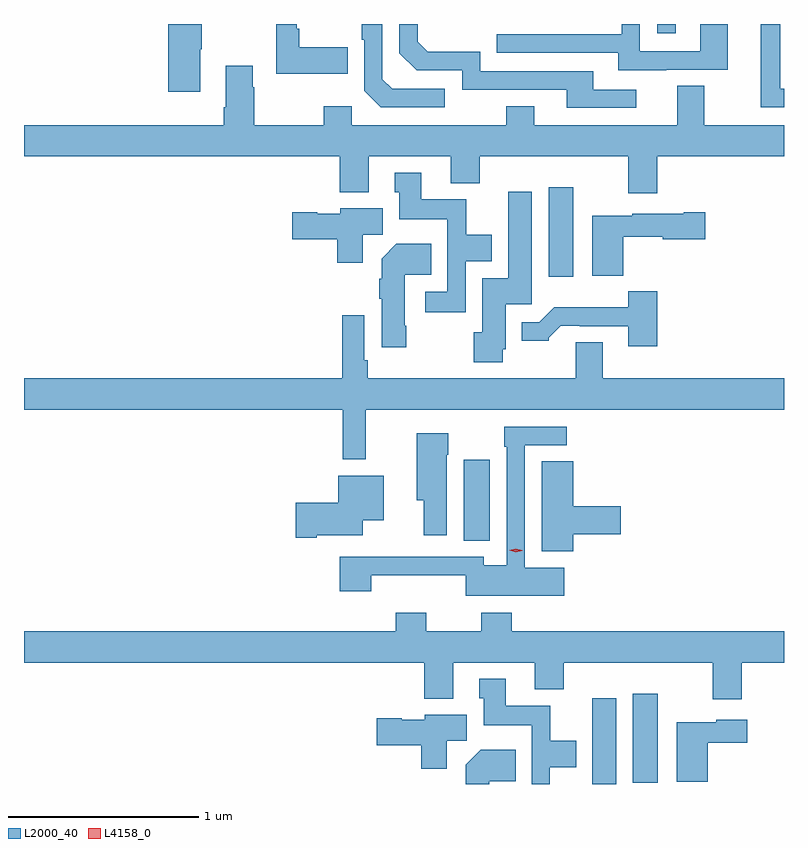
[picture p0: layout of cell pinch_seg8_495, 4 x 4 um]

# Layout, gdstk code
import gdstk
lib = gdstk.Library(unit=1e-6, precision=1e-09)
def R(c, l, rs):  # rectangles x0, y0, x1, y1
    for r in rs: c.add(gdstk.rectangle(r[:2], r[2:], *l))
def P(c, l, *ps):  # polygons
    for p in ps: c.add(gdstk.Polygon(p, *l))
L2000_40 = (2000, 40)
L4158_0 = (4158, 0)

pinch_seg8_495 = lib.new_cell('pinch_seg8_495')
R(pinch_seg8_495, L2000_40, [(211.538,1114.529,211.663,1114.981), (211.751,1114.536,211.882,1115.005), (210.86,1115.809,210.997,1116.235), (211.307,1117.2,211.438,1117.669), (211.878,1118.481,211.975,1118.529)])
P(pinch_seg8_495, L2000_40, [(211.768,1118.184),(211.543,1118.184),(211.543,1118.28),(210.948,1118.28),(210.948,1118.383),(210.671,1118.383),(210.618,1118.436),(210.618,1118.529),(210.522,1118.529),(210.522,1118.376),(210.612,1118.286),(210.852,1118.286),(210.852,1118.184),(211.403,1118.184),(211.403,1118.088),(211.768,1118.088)],
  [(210.251,1118.407),(209.995,1118.407),(209.995,1118.503),(209.982,1118.503),(209.982,1118.529),(209.874,1118.529),(209.874,1118.267),(210.251,1118.267)],
  [(212.546,1118.187),(212.527,1118.187),(212.527,1118.529),(212.423,1118.529),(212.423,1118.091),(212.546,1118.091)],
  [(210.76,1118.187),(210.483,1118.187),(210.432,1118.238),(210.432,1118.529),(210.324,1118.529),(210.324,1118.447),(210.336,1118.447),(210.336,1118.178),(210.423,1118.091),(210.76,1118.091)],
  [(211.927,1118.289),(212.251,1118.289),(212.251,1118.529),(212.106,1118.529),(212.106,1118.385),(211.788,1118.385),(211.788,1118.529),(211.692,1118.529),(211.692,1118.475),(211.033,1118.475),(211.033,1118.379),(211.673,1118.379),(211.673,1118.285),(211.927,1118.285)],
  [(209.473,1118.395),(209.481,1118.395),(209.481,1118.529),(209.306,1118.529),(209.306,1118.172),(209.473,1118.172)],
  [(211.88,1117.832),(212.546,1117.832),(212.546,1117.996),(212.125,1117.996),(212.125,1118.204),(211.985,1118.204),(211.985,1117.996),(211.231,1117.996),(211.231,1118.095),(211.084,1118.095),(211.084,1117.996),(210.27,1117.996),(210.27,1118.095),(210.124,1118.095),(210.124,1117.996),(209.757,1117.996),(209.757,1118.195),(209.749,1118.195),(209.749,1118.308),(209.609,1118.308),(209.609,1118.092),(209.597,1118.092),(209.597,1117.996),(208.546,1117.996),(208.546,1117.832),(210.209,1117.832),(210.209,1117.643),(210.361,1117.643),(210.361,1117.832),(210.791,1117.832),(210.791,1117.691),(210.944,1117.691),(210.944,1117.832),(211.727,1117.832),(211.727,1117.638),(211.88,1117.638)],
  [(210.87,1117.28),(211.009,1117.28),(211.009,1117.42),(210.873,1117.42),(210.873,1117.606),(210.637,1117.606),(210.637,1117.747),(210.497,1117.747),(210.497,1117.644),(210.521,1117.644),(210.521,1117.502),(210.774,1117.502),(210.774,1117.119),(210.657,1117.119),(210.657,1117.011),(210.87,1117.011)],
  [(211.065,1116.816),(211.081,1116.816),(211.081,1117.053),(211.219,1117.053),(211.219,1117.645),(211.094,1117.645),(211.094,1117.192),(210.959,1117.192),(210.959,1116.906),(210.913,1116.906),(210.913,1116.75),(211.065,1116.75)],
  [(210.328,1117.42),(210.433,1117.42),(210.433,1117.558),(210.21,1117.558),(210.21,1117.531),(210.09,1117.531),(210.09,1117.539),(209.958,1117.539),(209.958,1117.397),(210.194,1117.397),(210.194,1117.272),(210.328,1117.272)],
  [(211.7,1117.409),(211.908,1117.409),(211.908,1117.397),(212.131,1117.397),(212.131,1117.539),(212.018,1117.539),(212.018,1117.531),(211.746,1117.531),(211.746,1117.519),(211.538,1117.519),(211.538,1117.205),(211.7,1117.205)],
  [(210.558,1116.94),(210.55,1116.94),(210.55,1117.208),(210.689,1117.208),(210.689,1117.372),(210.506,1117.372),(210.428,1117.294),(210.428,1117.187),(210.416,1117.187),(210.416,1117.084),(210.428,1117.084),(210.428,1116.828),(210.558,1116.828)],
  [(211.88,1117.123),(211.725,1117.123),(211.725,1117.039),(211.336,1117.039),(211.257,1116.96),(211.166,1116.96),(211.166,1116.863),(211.308,1116.863),(211.308,1116.878),(211.372,1116.942),(211.471,1116.942),(211.471,1116.939),(211.727,1116.939),(211.727,1116.834),(211.88,1116.834)],
  [(210.344,1116.5),(212.546,1116.5),(212.546,1116.664),(211.591,1116.664),(211.591,1116.854),(211.451,1116.854),(211.451,1116.664),(210.356,1116.664),(210.356,1116.76),(210.336,1116.76),(210.336,1116.997),(210.22,1116.997),(210.22,1116.664),(208.546,1116.664),(208.546,1116.5),(210.223,1116.5),(210.223,1116.237),(210.344,1116.237)],
  [(211.39,1115.668),(211.182,1115.668),(211.182,1116.312),(211.402,1116.312),(211.402,1116.408),(211.074,1116.408),(211.074,1116.305),(211.086,1116.305),(211.086,1115.68),(210.966,1115.68),(210.966,1115.724),(210.209,1115.724),(210.209,1115.544),(210.374,1115.544),(210.374,1115.627),(210.87,1115.627),(210.87,1115.519),(211.39,1115.519)],
  [(210.772,1116.263),(210.78,1116.263),(210.78,1116.376),(210.614,1116.376),(210.614,1116.023),(210.65,1116.023),(210.65,1115.838),(210.772,1115.838)],
  [(211.438,1115.843),(211.687,1115.843),(211.687,1115.99),(211.438,1115.99),(211.438,1116.227),(211.271,1116.227),(211.271,1115.753),(211.438,1115.753)],
  [(210.088,1115.837),(210.328,1115.837),(210.328,1115.918),(210.439,1115.918),(210.439,1116.151),(210.2,1116.151),(210.2,1116.008),(209.976,1116.008),(209.976,1115.825),(210.088,1115.825)],
  [(210.503,1115.431),(210.503,1115.332),(208.546,1115.332),(208.546,1115.168),(210.653,1115.168),(210.653,1114.979),(210.805,1114.979),(210.805,1115.168),(211.235,1115.168),(211.235,1115.027),(211.388,1115.027),(211.388,1115.168),(212.171,1115.168),(212.171,1114.974),(212.324,1114.974),(212.324,1115.168),(212.546,1115.168),(212.546,1115.332),(211.112,1115.332),(211.112,1115.431),(210.952,1115.431),(210.952,1115.332),(210.663,1115.332),(210.663,1115.431)],
  [(211.314,1114.616),(211.453,1114.616),(211.453,1114.756),(211.317,1114.756),(211.317,1114.942),(211.081,1114.942),(211.081,1115.083),(210.941,1115.083),(210.941,1114.98),(210.965,1114.98),(210.965,1114.838),(211.218,1114.838),(211.218,1114.529),(211.314,1114.529)],
  [(210.772,1114.756),(210.877,1114.756),(210.877,1114.894),(210.654,1114.894),(210.654,1114.867),(210.534,1114.867),(210.534,1114.875),(210.402,1114.875),(210.402,1114.733),(210.638,1114.733),(210.638,1114.608),(210.772,1114.608)],
  [(212.144,1114.745),(212.353,1114.745),(212.353,1114.867),(212.19,1114.867),(212.19,1114.855),(211.982,1114.855),(211.982,1114.541),(212.144,1114.541)],
  [(210.994,1114.544),(211.133,1114.544),(211.133,1114.708),(210.95,1114.708),(210.872,1114.63),(210.872,1114.529),(210.994,1114.529)])
P(pinch_seg8_495, L4158_0, [(211.133,1115.748),(211.099,1115.758),(211.098,1115.758),(211.099,1115.759),(211.133,1115.768),(211.168,1115.758),(211.168,1115.757),(211.168,1115.757)])

lib.write_gds('pinch_seg8_495.gds')
